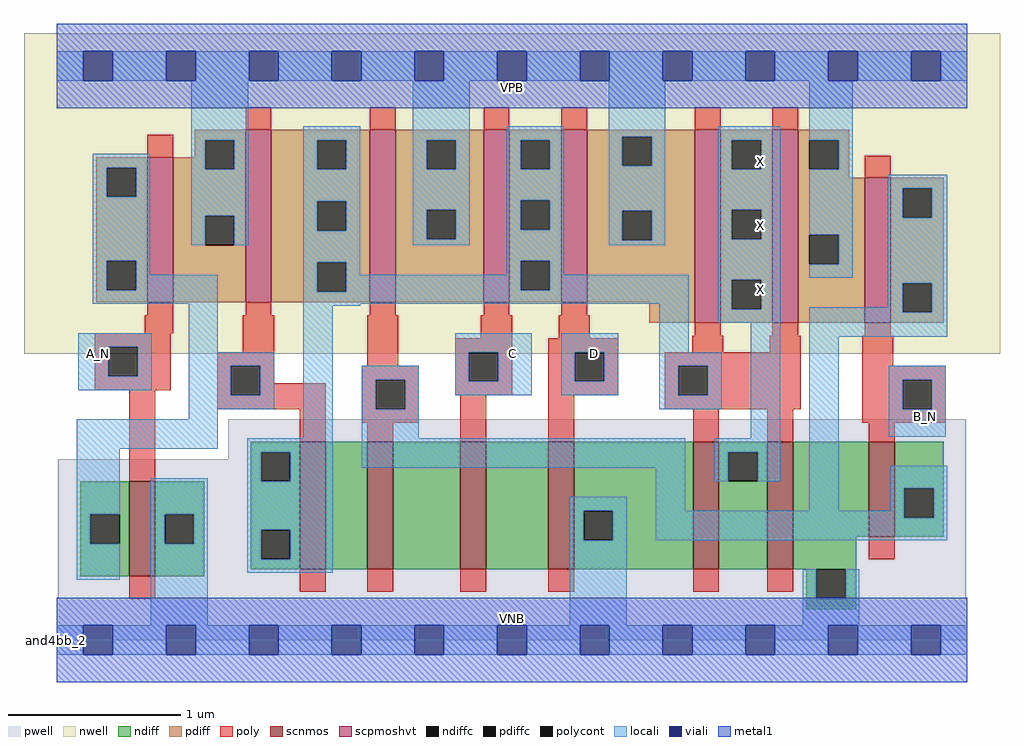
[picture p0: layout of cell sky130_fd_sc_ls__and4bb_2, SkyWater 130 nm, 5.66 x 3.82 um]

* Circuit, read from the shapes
.subckt sky130_fd_sc_ls__and4bb_2 A_N B_N C D VGND VNB VPB VPWR X
XM1 VGND A_N n1 VNB sky130_fd_pr__nfet_01v8 w=0.55 l=0.15
XM2 n2 n1 n3 VNB sky130_fd_pr__nfet_01v8 w=0.74 l=0.15
XM3 n4 n5 n2 VNB sky130_fd_pr__nfet_01v8 w=0.74 l=0.15
XM4 n6 C n4 VNB sky130_fd_pr__nfet_01v8 w=0.74 l=0.15
XM5 VGND D n6 VNB sky130_fd_pr__nfet_01v8 w=0.74 l=0.15
XM6 X n3 VGND VNB sky130_fd_pr__nfet_01v8 w=0.74 l=0.15 m=2
XM7 n5 B_N VGND VNB sky130_fd_pr__nfet_01v8 w=0.55 l=0.15
XM8 VPWR A_N n1 VPB sky130_fd_pr__pfet_01v8_hvt w=0.84 l=0.15
XM9 n3 n1 VPWR VPB sky130_fd_pr__pfet_01v8_hvt w=1 l=0.15
XM10 VPWR n5 n3 VPB sky130_fd_pr__pfet_01v8_hvt w=1 l=0.15
XM11 n3 C VPWR VPB sky130_fd_pr__pfet_01v8_hvt w=1 l=0.15
XM12 VPWR D n3 VPB sky130_fd_pr__pfet_01v8_hvt w=1 l=0.15
XM13 X n3 VPWR VPB sky130_fd_pr__pfet_01v8_hvt w=1.12 l=0.15 m=2
XM14 n5 B_N VPWR VPB sky130_fd_pr__pfet_01v8_hvt w=0.84 l=0.15
.ends

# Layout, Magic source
magic
tech sky130A
magscale 1 2
<< nwell >>
rect -38 332 1094 704
<< pwell >>
rect 199 210 1055 256
rect 1 49 1055 210
rect 0 0 1056 49
<< scnmos >>
rect 84 74 114 184
rect 282 82 312 230
rect 360 82 390 230
rect 468 82 498 230
rect 570 82 600 230
rect 738 82 768 230
rect 824 82 854 230
rect 942 120 972 230
<< scpmoshvt >>
rect 105 392 135 560
rect 219 392 249 592
rect 363 392 393 592
rect 495 392 525 592
rect 585 392 615 592
rect 740 368 770 592
rect 830 368 860 592
rect 937 368 967 536
<< ndiff >>
rect 225 218 282 230
rect 225 184 237 218
rect 271 184 282 218
rect 27 146 84 184
rect 27 112 39 146
rect 73 112 84 146
rect 27 74 84 112
rect 114 146 171 184
rect 114 112 125 146
rect 159 112 171 146
rect 114 74 171 112
rect 225 128 282 184
rect 225 94 237 128
rect 271 94 282 128
rect 225 82 282 94
rect 312 82 360 230
rect 390 82 468 230
rect 498 82 570 230
rect 600 150 738 230
rect 600 116 611 150
rect 645 116 738 150
rect 600 82 738 116
rect 768 218 824 230
rect 768 184 779 218
rect 813 184 824 218
rect 768 82 824 184
rect 854 120 942 230
rect 972 176 1029 230
rect 972 142 983 176
rect 1017 142 1029 176
rect 972 120 1029 142
rect 854 82 927 120
rect 869 48 881 82
rect 915 48 927 82
rect 869 36 927 48
<< pdiff >>
rect 160 580 219 592
rect 160 560 172 580
rect 46 548 105 560
rect 46 514 58 548
rect 92 514 105 548
rect 46 440 105 514
rect 46 406 58 440
rect 92 406 105 440
rect 46 392 105 406
rect 135 546 172 560
rect 206 546 219 580
rect 135 492 219 546
rect 135 458 172 492
rect 206 458 219 492
rect 135 392 219 458
rect 249 580 363 592
rect 249 546 302 580
rect 336 546 363 580
rect 249 509 363 546
rect 249 475 302 509
rect 336 475 363 509
rect 249 438 363 475
rect 249 404 302 438
rect 336 404 363 438
rect 249 392 363 404
rect 393 580 495 592
rect 393 546 429 580
rect 463 546 495 580
rect 393 499 495 546
rect 393 465 429 499
rect 463 465 495 499
rect 393 392 495 465
rect 525 580 585 592
rect 525 546 538 580
rect 572 546 585 580
rect 525 510 585 546
rect 525 476 538 510
rect 572 476 585 510
rect 525 440 585 476
rect 525 406 538 440
rect 572 406 585 440
rect 525 392 585 406
rect 615 584 740 592
rect 615 550 656 584
rect 690 550 740 584
rect 615 498 740 550
rect 615 464 656 498
rect 690 464 740 498
rect 615 392 740 464
rect 687 368 740 392
rect 770 580 830 592
rect 770 546 783 580
rect 817 546 830 580
rect 770 499 830 546
rect 770 465 783 499
rect 817 465 830 499
rect 770 418 830 465
rect 770 384 783 418
rect 817 384 830 418
rect 770 368 830 384
rect 860 580 919 592
rect 860 546 873 580
rect 907 546 919 580
rect 860 536 919 546
rect 860 470 937 536
rect 860 436 873 470
rect 907 436 937 470
rect 860 368 937 436
rect 967 524 1029 536
rect 967 490 981 524
rect 1015 490 1029 524
rect 967 414 1029 490
rect 967 380 981 414
rect 1015 380 1029 414
rect 967 368 1029 380
<< ndiffc >>
rect 237 184 271 218
rect 39 112 73 146
rect 125 112 159 146
rect 237 94 271 128
rect 611 116 645 150
rect 779 184 813 218
rect 983 142 1017 176
rect 881 48 915 82
<< pdiffc >>
rect 58 514 92 548
rect 58 406 92 440
rect 172 546 206 580
rect 172 458 206 492
rect 302 546 336 580
rect 302 475 336 509
rect 302 404 336 438
rect 429 546 463 580
rect 429 465 463 499
rect 538 546 572 580
rect 538 476 572 510
rect 538 406 572 440
rect 656 550 690 584
rect 656 464 690 498
rect 783 546 817 580
rect 783 465 817 499
rect 783 384 817 418
rect 873 546 907 580
rect 873 436 907 470
rect 981 490 1015 524
rect 981 380 1015 414
<< poly >>
rect 219 592 249 618
rect 363 592 393 618
rect 495 592 525 618
rect 585 592 615 618
rect 740 592 770 618
rect 830 592 860 618
rect 105 560 135 586
rect 105 377 135 392
rect 219 377 249 392
rect 363 377 393 392
rect 495 377 525 392
rect 585 377 615 392
rect 102 356 135 377
rect 44 340 132 356
rect 44 306 60 340
rect 94 306 132 340
rect 216 334 252 377
rect 44 290 132 306
rect 186 318 252 334
rect 360 318 396 377
rect 492 350 528 377
rect 582 350 618 377
rect 937 536 967 562
rect 740 353 770 368
rect 830 353 860 368
rect 937 353 967 368
rect 462 334 528 350
rect 84 184 114 290
rect 186 284 202 318
rect 236 298 252 318
rect 354 302 420 318
rect 236 284 312 298
rect 186 268 312 284
rect 282 230 312 268
rect 354 268 370 302
rect 404 268 420 302
rect 462 300 478 334
rect 512 300 528 334
rect 462 284 528 300
rect 570 334 651 350
rect 737 334 773 353
rect 827 334 863 353
rect 570 300 601 334
rect 635 300 651 334
rect 570 284 651 300
rect 705 318 863 334
rect 705 284 721 318
rect 755 284 863 318
rect 354 252 420 268
rect 360 230 390 252
rect 468 230 498 284
rect 570 230 600 284
rect 705 268 863 284
rect 934 318 970 353
rect 934 302 1031 318
rect 934 268 981 302
rect 1015 268 1031 302
rect 738 230 768 268
rect 824 230 854 268
rect 934 252 1031 268
rect 942 230 972 252
rect 942 94 972 120
rect 84 48 114 74
rect 282 56 312 82
rect 360 56 390 82
rect 468 56 498 82
rect 570 56 600 82
rect 738 56 768 82
rect 824 56 854 82
<< polycont >>
rect 60 306 94 340
rect 202 284 236 318
rect 370 268 404 302
rect 478 300 512 334
rect 601 300 635 334
rect 721 284 755 318
rect 981 268 1015 302
<< locali >>
rect 0 649 31 683
rect 65 649 127 683
rect 161 649 223 683
rect 257 649 319 683
rect 353 649 415 683
rect 449 649 511 683
rect 545 649 607 683
rect 641 649 703 683
rect 737 649 799 683
rect 833 649 895 683
rect 929 649 991 683
rect 1025 649 1056 683
rect 156 580 222 649
rect 42 548 108 564
rect 42 514 58 548
rect 92 514 108 548
rect 42 440 108 514
rect 156 546 172 580
rect 206 546 222 580
rect 156 492 222 546
rect 156 458 172 492
rect 206 458 222 492
rect 286 580 352 596
rect 286 546 302 580
rect 336 546 352 580
rect 286 509 352 546
rect 286 475 302 509
rect 336 475 352 509
rect 42 406 58 440
rect 92 424 108 440
rect 286 438 352 475
rect 413 580 479 649
rect 413 546 429 580
rect 463 546 479 580
rect 413 499 479 546
rect 413 465 429 499
rect 463 465 479 499
rect 413 458 479 465
rect 522 580 588 596
rect 522 546 538 580
rect 572 546 588 580
rect 522 510 588 546
rect 522 476 538 510
rect 572 476 588 510
rect 92 406 187 424
rect 42 390 187 406
rect 25 340 110 356
rect 25 306 60 340
rect 94 306 110 340
rect 25 290 110 306
rect 153 334 187 390
rect 286 404 302 438
rect 336 424 352 438
rect 522 440 588 476
rect 640 584 706 649
rect 640 550 656 584
rect 690 550 706 584
rect 640 498 706 550
rect 640 464 656 498
rect 690 464 706 498
rect 640 458 706 464
rect 767 580 839 596
rect 767 546 783 580
rect 817 546 839 580
rect 767 499 839 546
rect 767 465 783 499
rect 817 465 839 499
rect 522 424 538 440
rect 336 406 538 424
rect 572 424 588 440
rect 572 406 733 424
rect 336 404 733 406
rect 286 390 733 404
rect 286 388 352 390
rect 153 318 252 334
rect 153 284 202 318
rect 236 284 252 318
rect 153 268 252 284
rect 153 256 187 268
rect 23 222 187 256
rect 286 234 320 388
rect 462 334 551 356
rect 23 146 73 222
rect 221 218 320 234
rect 23 112 39 146
rect 23 70 73 112
rect 109 146 175 188
rect 109 112 125 146
rect 159 112 175 146
rect 109 17 175 112
rect 221 184 237 218
rect 271 184 320 218
rect 354 302 420 318
rect 354 268 370 302
rect 404 268 420 302
rect 462 300 478 334
rect 512 300 551 334
rect 462 284 551 300
rect 585 334 651 356
rect 585 300 601 334
rect 635 300 651 334
rect 585 284 651 300
rect 699 334 733 390
rect 767 418 839 465
rect 873 580 923 649
rect 907 546 923 580
rect 873 470 923 546
rect 907 436 923 470
rect 873 420 923 436
rect 964 524 1033 540
rect 964 490 981 524
rect 1015 490 1033 524
rect 767 384 783 418
rect 817 384 839 418
rect 964 414 1033 490
rect 964 386 981 414
rect 767 368 839 384
rect 699 318 771 334
rect 699 284 721 318
rect 755 284 771 318
rect 699 268 771 284
rect 354 234 420 268
rect 805 234 839 368
rect 354 200 729 234
rect 221 128 320 184
rect 221 94 237 128
rect 271 94 320 128
rect 221 78 320 94
rect 595 150 661 166
rect 595 116 611 150
rect 645 116 661 150
rect 695 150 729 200
rect 763 218 839 234
rect 763 184 779 218
rect 813 184 839 218
rect 873 380 981 386
rect 1015 380 1033 414
rect 873 352 1033 380
rect 873 150 907 352
rect 965 302 1031 318
rect 965 268 981 302
rect 1015 268 1031 302
rect 965 236 1031 268
rect 967 176 1033 202
rect 967 150 983 176
rect 695 142 983 150
rect 1017 142 1033 176
rect 695 116 1033 142
rect 595 17 661 116
rect 865 48 881 82
rect 915 48 931 82
rect 865 17 931 48
rect 0 -17 31 17
rect 65 -17 127 17
rect 161 -17 223 17
rect 257 -17 319 17
rect 353 -17 415 17
rect 449 -17 511 17
rect 545 -17 607 17
rect 641 -17 703 17
rect 737 -17 799 17
rect 833 -17 895 17
rect 929 -17 991 17
rect 1025 -17 1056 17
<< viali >>
rect 31 649 65 683
rect 127 649 161 683
rect 223 649 257 683
rect 319 649 353 683
rect 415 649 449 683
rect 511 649 545 683
rect 607 649 641 683
rect 703 649 737 683
rect 799 649 833 683
rect 895 649 929 683
rect 991 649 1025 683
rect 31 -17 65 17
rect 127 -17 161 17
rect 223 -17 257 17
rect 319 -17 353 17
rect 415 -17 449 17
rect 511 -17 545 17
rect 607 -17 641 17
rect 703 -17 737 17
rect 799 -17 833 17
rect 895 -17 929 17
rect 991 -17 1025 17
<< metal1 >>
rect 0 683 1056 715
rect 0 649 31 683
rect 65 649 127 683
rect 161 649 223 683
rect 257 649 319 683
rect 353 649 415 683
rect 449 649 511 683
rect 545 649 607 683
rect 641 649 703 683
rect 737 649 799 683
rect 833 649 895 683
rect 929 649 991 683
rect 1025 649 1056 683
rect 0 617 1056 649
rect 0 17 1056 49
rect 0 -17 31 17
rect 65 -17 127 17
rect 161 -17 223 17
rect 257 -17 319 17
rect 353 -17 415 17
rect 449 -17 511 17
rect 545 -17 607 17
rect 641 -17 703 17
rect 737 -17 799 17
rect 833 -17 895 17
rect 929 -17 991 17
rect 1025 -17 1056 17
rect 0 -49 1056 -17
<< labels >>
rlabel comment s 0 0 0 0 4 and4bb_2
flabel pwell s 0 0 1056 49 0 FreeSans 200 0 0 0 VNB
port 6 nsew ground bidirectional
flabel nwell s 0 617 1056 666 0 FreeSans 200 0 0 0 VPB
port 7 nsew power bidirectional
flabel metal1 s 0 617 1056 666 0 FreeSans 340 0 0 0 VPWR
port 8 nsew power bidirectional abutment
flabel metal1 s 0 0 1056 49 0 FreeSans 340 0 0 0 VGND
port 5 nsew ground bidirectional abutment
flabel locali s 799 390 833 424 0 FreeSans 340 0 0 0 X
port 9 nsew signal output
flabel locali s 799 464 833 498 0 FreeSans 340 0 0 0 X
port 9 nsew signal output
flabel locali s 799 538 833 572 0 FreeSans 340 0 0 0 X
port 9 nsew signal output
flabel locali s 991 242 1025 276 0 FreeSans 340 0 0 0 B_N
port 2 nsew signal input
flabel locali s 31 316 65 350 0 FreeSans 340 0 0 0 A_N
port 1 nsew signal input
flabel locali s 607 316 641 350 0 FreeSans 340 0 0 0 D
port 4 nsew signal input
flabel locali s 511 316 545 350 0 FreeSans 340 0 0 0 C
port 3 nsew signal input
<< properties >>
string LEFsite unit
string LEFclass CORE
string FIXED_BBOX 0 0 1056 666
string GDS_FILE $PDKPATH/libs.ref/sky130_fd_sc_ls/gds/sky130_fd_sc_ls.gds
string LEFsymmetry X Y
string GDS_END 3093666
string GDS_START 3085070
<< end >>
